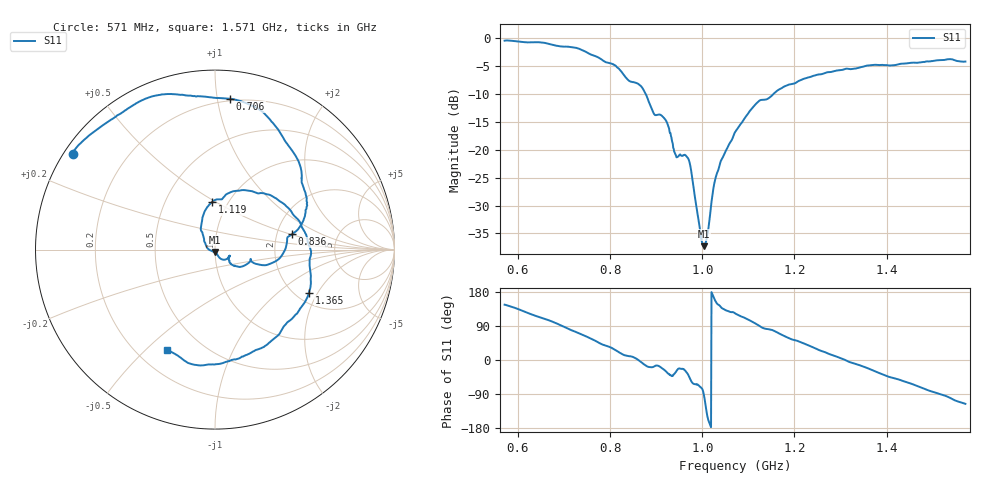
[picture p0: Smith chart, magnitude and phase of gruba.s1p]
# GHZ S DB R 50.000000000000
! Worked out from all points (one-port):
!   1001 points, 571 MHz to 1.571 GHz, reference 50 ohm
!   lowest |S11| = -37.3 dB at 1.003 GHz (marker M1), VSWR 1.03, Z = 50 - j1.37 ohm
!   |S11| at or under -10 dB: 877.4 MHz to 1.154 GHz (276.4 MHz wide, 27.2 % of centre)
!   S11 on the Smith chart (normalised r, x): 571 MHz: 0.02, +0.31; 706 MHz: 0.19, +1.09; 836 MHz: 2.43, +0.51; 1.119 GHz: 0.84, +0.48; 1.365 GHz: 2.35, -1.69; 1.571 GHz: 0.32, -0.58
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0.571  -0.40 146.0
0.643  -0.67 114.5
0.696  -1.46 89.8
0.706  -1.47 84.2
0.732  -1.82 70.6
0.773  -3.35 47.3
0.821  -5.62 19.1
0.836  -7.19 11.2
0.864  -8.34 -2.4
0.878  -10.10 -15.0
0.895  -13.51 -17.4
0.919  -14.48 -27.5
0.946  -21.28 -25.7
0.971  -21.86 -43.0
0.997  -35.58 -72.4
1.003  -37.29 -89.1
1.01  -35.63 -141.6
1.024  -26.98 167.5
1.031  -24.40 150.5
1.071  -16.84 123.3
1.119  -11.53 93.7
1.196  -8.14 53.7
1.243  -6.67 31.9
1.321  -5.52 -6.0
1.365  -4.79 -24.6
1.446  -4.44 -59.3
1.514  -3.90 -89.3
1.571  -4.14 -115.6
